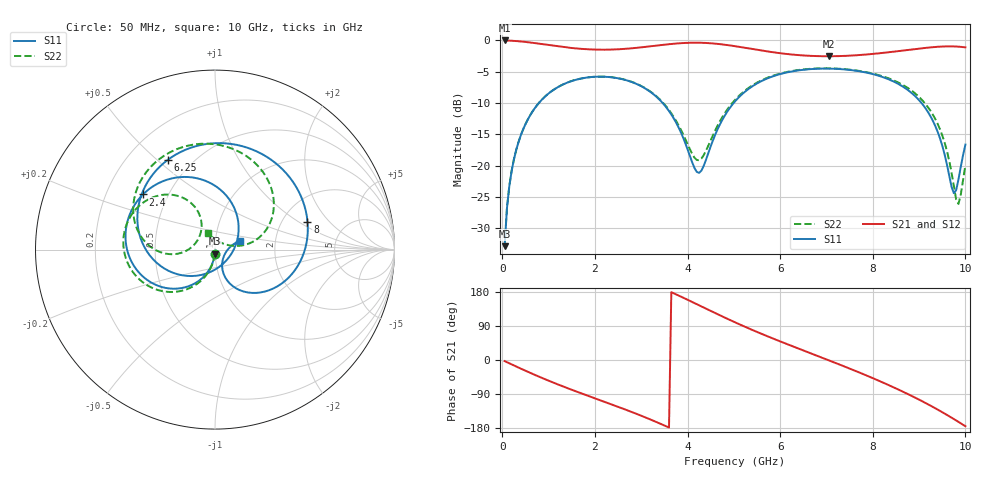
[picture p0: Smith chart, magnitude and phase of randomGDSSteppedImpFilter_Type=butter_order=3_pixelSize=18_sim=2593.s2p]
! freq	dB(S11)	phase(S11)	dB(S12)	phase(S12)
!  dB(S21)	phase(S21)	dB(S22)	phase(S22)
!S-par simulation data
#  GHz  S  DB  R 50
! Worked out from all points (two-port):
!   200 points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, 50 MHz to 10 GHz, reference 50 ohm
!   highest |S21| = -0.01 dB at 50 MHz (marker M1); lowest = -2.5 dB at 7.05 GHz (marker M2)
!   |S21| within 3 dB of the highest: start of sweep to end of sweep
!   lowest |S11| = -32.9 dB at 50 MHz (marker M3), VSWR 1.05, Z = 49.8 - j2.27 ohm
!   |S11| at or under -10 dB: start of sweep to 789.2 MHz; 3.463 GHz to 4.996 GHz (1.533 GHz wide, 36.2 % of centre); 9.052 GHz to end of sweep
!   |S22| runs from -32.8 to -4.5 dB; largest |S21 - S12| = 0
!   S11 on the Smith chart (normalised r, x): 50 MHz: 1.00, -0.05; 2.4 GHz: 0.36, +0.30; 6.25 GHz: 0.37, +0.54; 8 GHz: 2.74, +1.21; 10 GHz: 1.32, +0.13
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0.05  -32.85 -93.1  -0.01 -2.9  -0.01 -2.9  -32.85 -92.9
0.1  -26.85 -96.2  -0.02 -5.8  -0.02 -5.8  -26.85 -95.7
0.2  -20.91 -102.4  -0.05 -11.5  -0.05 -11.5  -20.90 -101.3
0.5  -13.38 -120.1  -0.24 -28.3  -0.24 -28.3  -13.37 -117.5
1.1  -7.92 -153.1  -0.84 -59.6  -0.84 -59.6  -7.92 -147.1
1.75  -6.02 174.4  -1.37 -90.0  -1.37 -90.0  -6.01 -175.2
2.4  -5.93 142.5  -1.45 -119.0  -1.45 -119.0  -5.91 158.9
3.4  -9.50 84.8  -0.77 -167.4  -0.77 -167.4  -9.41 121.6
4.25  -21.15 -45.0  -0.37 144.3  -0.37 144.3  -19.14 153.0
5.05  -9.53 -167.4  -0.95 98.1  -0.95 98.1  -9.30 179.2
5.65  -6.30 152.6  -1.67 66.4  -1.67 66.4  -6.19 157.6
6.25  -4.96 117.6  -2.25 37.1  -2.25 37.1  -4.89 135.0
6.7  -4.56 92.4  -2.48 15.8  -2.48 15.8  -4.51 118.3
7.05  -4.50 72.7  -2.53 -0.8  -2.53 -0.8  -4.46 105.3
8  -5.38 16.9  -2.16 -47.8  -2.16 -47.8  -5.29 69.3
8.35  -6.23 -4.9  -1.88 -66.6  -1.88 -66.6  -6.08 55.3
8.85  -8.47 -36.9  -1.44 -95.4  -1.44 -95.4  -8.08 34.2
9.3  -12.87 -63.9  -1.08 -124.0  -1.08 -124.0  -11.88 15.3
9.55  -18.17 -69.9  -0.96 -141.2  -0.96 -141.2  -16.27 8.7
9.75  -24.39 -30.9  -0.96 -155.7  -0.96 -155.7  -23.25 23.7
9.85  -22.22 5.5  -1.00 -163.2  -1.00 -163.2  -26.11 67.2
10  -16.63 19.5  -1.11 -174.7  -1.11 -174.7  -19.93 113.0
